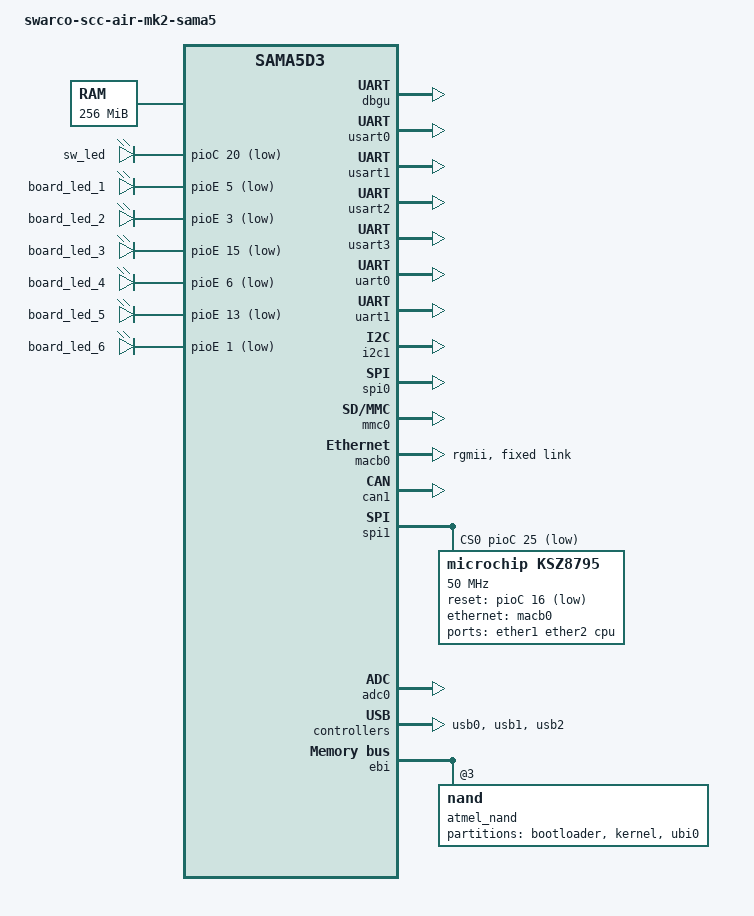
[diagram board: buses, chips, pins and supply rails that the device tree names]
/*
 * sama5d35-swarco-air-mk2.dts - Device Tree for Swarco SCC-Air Mk.II
 *
 *  Copyright (C) 2013 Atmel,
 *                2013 Ludovic Desroches <ludovic.desroches@atmel.com>
 *                2016 Karl Olsen <karl@micro-technic.com>
 *                2019 Jakob Førster <jf@swtech.dk>
 *                2021 Guido Classen 
 *
 * Licensed under GPLv2 or later.
 */

/dts-v1/;
#include "sama5d35.dtsi"

/ {
	model = "swarco-scc-air-mk2-sama5";
	compatible = "atmel,sama5d35-swarco-scc-air-mk2", "atmel,sama5d35", "atmel,sama5d3", "atmel,sama5";

	chosen {
		stdout-path = "serial0:115200n8";
		/* bootargs = "rootfstype=ubifs ubi.mtd=2 root=ubi0:rootfs"; */
	};

	memory {
		reg = <0x20000000 0x10000000>;
	};

	clocks {
		slow_xtal {
			clock-frequency = <32768>;
		};

		main_xtal {
			clock-frequency = <12000000>;
		};
	};

	gpioleds {
		compatible = "gpio-leds";

		/* D15 green SMD LED */
		led_sw {
			label = "sw_led";
			gpios = <&pioC 20 GPIO_ACTIVE_LOW>;
			default-state = "on";
			linux,default-trigger = "cpu0";
		};

		/* LED board */
		/* ST_LED_1 */
		board_led_1 {
			label = "board_led_1";
			gpios = <&pioE 5 GPIO_ACTIVE_LOW>;
			default-state = "off";
		};

		/* ST_LED_2 */
		board_led_2 {
			label = "board_led_2";
			gpios = <&pioE 3 GPIO_ACTIVE_LOW>;
			default-state = "off";
		};

		/* ST_LED_3 */
		board_led_3 {
			label = "board_led_3";
			gpios = <&pioE 15 GPIO_ACTIVE_LOW>;
			default-state = "off";
		};

		/* ST_LED_4 */
		board_led_4 {
			label = "board_led_4";
			gpios = <&pioE 6 GPIO_ACTIVE_LOW>;
			default-state = "off";
		};

		/* ST_LED_5 */
		board_led_5 {
			label = "board_led_5";
			gpios = <&pioE 13 GPIO_ACTIVE_LOW>;
			default-state = "off";
		};

		/* ST_LED_6 */
		board_led_6 {
			label = "board_led_6";
			gpios = <&pioE 1 GPIO_ACTIVE_LOW>;
			default-state = "off";
		};
	};

	ahb {
		apb {
			/* DBGU (/dev/ttyS0): Console port. RxD, TxD.
			 * Accessible through USB Device port with FTDI USB-serial converter. */
			dbgu: serial@ffffee00 {
				atmel,use-dma-rx;
				atmel,use-dma-tx;
				status = "okay";
			};

			/* USART0 (/dev/ttyS1): RS485#1. RxD, TxD, RTS. */
			usart0: serial@f001c000 {
				pinctrl-0 = <&pinctrl_usart0 &pinctrl_usart0_rts>;
				linux,rs485-enabled-at-boot-time;
				rs485-rts-delay = <1 1>;
				atmel,use-dma-rx;
				atmel,use-dma-tx;
				status = "okay";
			};

			/* USART1 (/dev/ttyS2): RS485#3. RxD, TxD, RTS. */
			usart1: serial@f0020000 {
				pinctrl-0 = <&pinctrl_usart1 &pinctrl_usart1_rts>;
				linux,rs485-enabled-at-boot-time;
				rs485-rts-delay = <1 1>;
				atmel,use-dma-rx;
				atmel,use-dma-tx;
				status = "okay";
			};

			/* USART2 (/dev/ttyS3): RS232#1 with full modem.
			 * CN9 DSUB-9 male on front. */
			usart2: serial@f8020000 {
				pinctrl-0 = <&pinctrl_usart2 &pinctrl_usart2_rts_cts>;
				dtr-gpios = <&pioE 27 GPIO_ACTIVE_LOW>;
				rng-gpios = <&pioE 28 GPIO_ACTIVE_LOW>;
				dsr-gpios = <&pioE 29 GPIO_ACTIVE_LOW>;
				dcd-gpios = <&pioE 30 GPIO_ACTIVE_LOW>;
				atmel,use-dma-rx;
				atmel,use-dma-tx;
				status = "okay";
			};

			/* USART3 (dev/ttyS4): RS485#2. RxD, TxD, RTS. */
			usart3: serial@f8024000 {
				pinctrl-0 = <&pinctrl_usart3 &pinctrl_usart3_rts>;
				linux,rs485-enabled-at-boot-time;
				rs485-rts-delay = <1 1>;
				atmel,use-dma-rx;
				atmel,use-dma-tx;
				status = "okay";
			};

			/* UART0 (dev/ttyS5):  RS232#2. RxD, TxD. */
			uart0: serial@f0024000 {
				status = "okay";
			};

			/* UART1 (dev/ttyS6):  UART Expansion board. RxD, TxD. */
			uart1: serial@f8028000 {
				status = "okay";
			};

            /* Twin wire communication - Expansion board*/
            i2c1: i2c@f0018000 {
				status = "okay";
			};

			/* SPI - Expansion board*/
			spi0: spi@f0004000 {
				/* The default pinctrl_spi0 covers SPCK, MISO, MOSI.
				 * Chip select is GPIO which does not need pinctrl. */
				cs-gpios = <&pioD 13 0>;
				status = "okay";
			};

			/* MicroSD connector */
			mmc0: mmc@f0000000 {
				pinctrl-0 = <&pinctrl_mmc0_clk_cmd_dat0 &pinctrl_mmc0_dat1_3 &pinctrl_mmc0_cd>;
				/* If you want to prevent DMA usage:
				 * dma-names = "rxtxdlesnotexist"; */
				status = "okay";

				slot@0 {
					reg = <0>;
					bus-width = <4>;
					cd-gpios = <&pioB 17 GPIO_ACTIVE_LOW>;
				};
			};

			/* 10/100 macb not in use */
			macb1: ethernet@f802c000 {
				status = "disable";
			};

			/* Gigabit gmac directly connected to a KSZ8795 or
			 * KSZ8765 5-port switch. We use a platform "fixed"
			 * MDIO bus (CONFIG_FIXED_PHY) at 1000M always up
			 * instead of a physical MDIO bus.
			 * The KSZ87x5 is managed through SPI interface. */
			macb0: ethernet@f0028000 {
				pinctrl-0 = <&pinctrl_macb0_data_rgmii &pinctrl_macb0_signal_rgmii_nomdio>;
				phy-mode = "rgmii";
				#address-cells = <1>;
				#size-cells = <0>;
				status = "okay";

				/* @@kro: Support for "fixed-link" has been patched into
				 * drivers/net/ethernet/cadence/macb.c.
				 * Without this macb.c only checks its own mii bus. */
				fixed-link {
					speed = <1000>;
					full-duplex;
				};
			};

			/* CAN I/O */
			can1: can@f8010000 {
				status = "okay";
			};

			/* SPI 1 - micrel switch */
			spi1: spi@f8008000 {
				/* The default pinctrl_spi1 covers SPCK, MISO, MOSI.
				 * Chip select is GPIO which does not need pinctrl. */
				cs-gpios = <&pioC 25 GPIO_ACTIVE_LOW>;
				status = "okay";

				/*
                                 * ksz87x5_spi@0 {
				 * 	/\* Micrel KSZ8795 5-port switch *\/
				 * 	compatible = "micrel,ksz8795";
				 * 	reg = <0>;
				 * 	reset-gpios = <&pioC 16 GPIO_ACTIVE_LOW>;
				 * 	spi-max-frequency = <50000000>;
				 * 	#address-cells = <1>;
				 * 	#size-cells = <0>;
                                 * 
				 * 	ports {
				 * 		#address-cells = <1>;
				 * 		#size-cells = <0>;
                                 * 
				 * 		port0@0 {
				 * 			reg = <0>;
				 * 			label = "eth1";
				 * 		};
                                 * 
				 * 		port1@1 {
				 * 			reg = <1>;
				 * 			label = "eth2";
				 * 		};
                                 * 
				 * 		port4@4 {
				 * 			reg = <4>;
				 * 			label = "cpu";
				 * 			ethernet = <&macb0>;
				 * 		};
				 * 	};
				 * };
                                 */
		                ksz8795: ksz8795@0 {
                                        /* Micrel KSZ8795 5-port switch */
			                compatible = "microchip,ksz8795";
			                reg = <0>;
                                        /* 2021-06-02 gc: this is different than SCC 5port router */
				  	reset-gpios = <&pioC 16 GPIO_ACTIVE_LOW>;
			                spi-max-frequency = <50000000>;
			                /*
                                         * spi-cpha;
			                 * spi-cpol;
                                         */
                                        status = "okay";

			                ports {
				                #address-cells = <1>;
				                #size-cells = <0>;
				                port@0 {
					                reg = <0>;
					                label = "ether1";
				                };
				                port@1 {
					                reg = <1>;
					                label = "ether2";
				                };
				                port@4 {
					                reg = <4>;
					                label = "cpu";
					                ethernet = <&macb0>;
				                        phy-mode = "rgmii-id";
					                fixed-link {
						                speed = <1000>;
						                full-duplex;
					                };
				                };
			                };
		                };
                                
			};

			/* ADC enable */
			adc0: adc@f8018000 {
				atmel,adc-channels-used = <0xC7>;
				pinctrl-0 = <
					&pinctrl_adc0_adtrg
					&pinctrl_adc0_ad0
					&pinctrl_adc0_ad1
					&pinctrl_adc0_ad2
					&pinctrl_adc0_ad6
					&pinctrl_adc0_ad7>;
				atmel,adc-use-res = "highres";
				atmel,adc-vref = <3300>;
				status = "okay";
			};

			/* Watchdog */
			watchdog@fffffe40 {
				/delete-property/ atmel,dbg-halt;
				status = "okay";
			};

			/* RTC */
			/* Nothing necessary, is automatically enabled */

			/* Main clock crystal frequency */
			pmc: pmc@fffffc00 {
				main: mainck {
					clock-frequency = <12000000>;
				};
			};

			pinctrl@fffff200 {
				board {
					/* Card Detect GPIO input for MicroSD */
					pinctrl_mmc0_cd: mmc0_cd-0 {
						atmel,pins =
							<AT91_PIOB 17 AT91_PERIPH_GPIO AT91_PINCTRL_PULL_UP_DEGLITCH>;
					};

					/* VBUS detect GPIO input pin for USB Device */
					pinctrl_usba_vbus: usba_vbus-0 {
						atmel,pins =
							<AT91_PIOD 28 AT91_PERIPH_GPIO AT91_PINCTRL_DEGLITCH>;
					};

					/* RTS pin for USART0 (RS485#1) */
					pinctrl_usart0_rts: usart0_rts-0 {
						atmel,pins =
							<AT91_PIOD 16 AT91_PERIPH_A AT91_PINCTRL_NONE>;
					};

					/* RTS pin for USART1 (RS485#3) */
					pinctrl_usart1_rts: usart1_rts-0 {
						atmel,pins =
							<AT91_PIOB 27 AT91_PERIPH_A AT91_PINCTRL_NONE>;
					};

					/* RTS pin for USART3 (RS485#2) */
					pinctrl_usart3_rts: usart3_rts-0 {
						atmel,pins =
							<AT91_PIOE 17 AT91_PERIPH_B AT91_PINCTRL_NONE>;
					};

					/* Control signals for macb0 rgmii. Same as pinctrl_macb0_signal_rgmii
					 * but with PB16 (GMDC) and PB17 (GMDIO) removed. */
					pinctrl_macb0_signal_rgmii_nomdio: macb0_signal_rgmii_nomdio {
						atmel,pins =
							<AT91_PIOB 8 AT91_PERIPH_A AT91_PINCTRL_NONE    /* PB8 periph A GTXCK, conflicts with PWMH2 */
							 AT91_PIOB 9 AT91_PERIPH_A AT91_PINCTRL_NONE    /* PB9 periph A GTXEN, conflicts with PWML2 */
							 AT91_PIOB 11 AT91_PERIPH_A AT91_PINCTRL_NONE   /* PC16 periph A GRXCK */
							 AT91_PIOB 13 AT91_PERIPH_A AT91_PINCTRL_NONE   /* PB13 periph A GRXER, conflicts with PWML3 */
							 AT91_PIOB 18 AT91_PERIPH_A AT91_PINCTRL_NONE>; /* PB18 periph A G125CK */
					};
                                        /* 2021-06-01 gc: pioC 16 GPIO_ACTIVE_LOW (this is different than 5port router)  */
                                        pinctrl_spi_ksz: spi_ksz {
						atmel,pins =
							<AT91_PIOC 16 AT91_PERIPH_GPIO AT91_PINCTRL_NONE> ; /* GMAC_RESET */
					};


					/* GPIOs for digital inputs. */
					pinctrl_dig_in: dig_in-0 {
						atmel,pins =
							<AT91_PIOD 20 AT91_PERIPH_GPIO AT91_PINCTRL_DEGLITCH    /* PB19 = DIG_IN_0 */
							 AT91_PIOD 21 AT91_PERIPH_GPIO AT91_PINCTRL_DEGLITCH    /* PB20 = DIG_IN_1 */
							 AT91_PIOD 22 AT91_PERIPH_GPIO AT91_PINCTRL_DEGLITCH    /* PB21 = DIG_IN_2 */
							 AT91_PIOD 23 AT91_PERIPH_GPIO AT91_PINCTRL_DEGLITCH    /* PB22 = DIG_IN_3 */
							 AT91_PIOD 24 AT91_PERIPH_GPIO AT91_PINCTRL_DEGLITCH>;  /* PB23 = DIG_IN_4 */
					};

					/* GPIOs for digital inputs and output to the expansion board. */
					pinctrl_exp_board_io: pinctrl_exp_board_io-0 {
						atmel,pins =
							<AT91_PIOC 10 AT91_PERIPH_GPIO AT91_PINCTRL_DEGLITCH    /* PC10 =  IN_1 */
                                                  /* 2021-06-02 gc: this was wrong, should be PC18!!! */
							 AT91_PIOC 18 AT91_PERIPH_GPIO AT91_PINCTRL_DEGLITCH>;  /* PC16 = OUT_1 */
					};
				};
			};
		};  /* apb END */

		/* USB Device */
		usb0: gadget@500000 {
			atmel,vbus-gpio = <&pioD 28 GPIO_ACTIVE_HIGH>;
			pinctrl-names = "default";
			pinctrl-0 = <&pinctrl_usba_vbus>;
			status = "okay";
                        /* 2021-07-29 gc: we must use smaller fifo-sizes than
                        *                 the default values, because the
                        *                 USB-Hub chip TUSB2046 used in the
                        *                 SCC-Air Mk II USB device port only 
                        *                 supports full-speed and will crash
                        *                 when we use the default fifo-size 
                        *                 of 1024.
                        */
                        ep@0 {
		                reg = <0>;
		                atmel,fifo-size = <64>;
		                atmel,nb-banks = <1>;
	                };
	                ep@1 {
		                reg = <1>;
		                atmel,fifo-size = <64>;
		                atmel,nb-banks = <2>;
		                atmel,can-dma;
		                atmel,can-isoc;
	                };
	                ep@2 {
		                reg = <2>;
		                atmel,fifo-size = <64>;
		                atmel,nb-banks = <2>;
		                atmel,can-dma;
		                atmel,can-isoc;
	                };
	                ep@3 {
		                reg = <3>;
		                atmel,fifo-size = <16>;
		                atmel,nb-banks = <2>;
		                atmel,can-dma;
	                };
	                ep@4 {
		                reg = <4>;
		                atmel,fifo-size = <16>;
		                atmel,nb-banks = <2>;
		                atmel,can-dma;
	                };
	                ep@5 {
		                reg = <5>;
		                atmel,fifo-size = <64>;
		                atmel,nb-banks = <2>;
		                atmel,can-dma;
		                atmel,can-isoc;
	                };
	                ep@6 {
		                reg = <6>;
		                atmel,fifo-size = <64>;
		                atmel,nb-banks = <2>;
		                atmel,can-dma;
		                atmel,can-isoc;
	                };
		};

		/* USB Host fullspeed */
		usb1: ohci@600000 {
			num-ports = <3>;
			atmel,vbus-gpio =
				<0				/* USB_A is device only */
				 0				/* USB_B: Modem module, VBUS controlled manually by PD24 */
				 &pioD 29 GPIO_ACTIVE_LOW>;	/* USB_C: Host connector powered through LM3526-L */
			status = "okay";
		};

		/* USB Host highspeed */
		usb2: ehci@700000 {
			status = "okay";
		};

		/* 128/256/512 MB NAND flash.
		 * ECC settings must match with the bootloader. */
		/*
                 * nand0: nand@60000000 {
		 * 	nand-bus-width = <8>;
		 * 	nand-ecc-mode = "hw";
		 * 	atmel,has-pmecc;
		 * 	atmel,pmecc-cap = <8>;
		 * 	atmel,pmecc-sector-size = <512>;
		 * 	nand-on-flash-bbt;
		 * 	status = "okay";
                 * 
		 * 	/\* mtd0: 128 KB (1 block) for bootloader. *\/
		 * 	bootloader@0 {
		 * 		label = "bootloader";
		 * 		reg = <0x00000000 0x00020000>;	/\* 128 KB *\/
		 * 	};
                 * 
		 * 	/\* mtd1: Almost 8 MB (63 blocks) for kernel+initramfs. *\/
		 * 	kernel@20000 {
		 * 		label = "kernel";
		 * 		reg = <0x00020000 0x007E0000>;	/\* 8064 KB *\/
		 * 	};
                 * 
		 * 	/\* mtd2: The rest (120/248/504 MB) for UBI. This
		 * 	 * normally contains one volume called "rootfs".
		 * 	 *
		 * 	 * The magic value MTDPART_SIZ_FULL (0) isn't mentioned
		 * 	 * in the devicetree binding docs, but it works. With
		 * 	 * this you don't need separate .dtb files for
		 * 	 * different NAND flash sizes. *\/
		 * 	ubi0@800000 {
		 * 		label = "ubi0";
		 * 		reg = <0x00800000 0x00000000>;	/\* MTDPART_SIZ_FULL *\/
		 * 	};
		 * };
                 */
                ebi: ebi@10000000 { /* NAND has NCS3, which is not a GPIO */
			pinctrl-0 = <&pinctrl_ebi_nand_addr>;
			pinctr-name = "default";
			status = "okay";

			nand_controller: nand-controller {
				status = "okay";

				nand@3 {
					reg = <0x3 0x0 0x2>;
					atmel,rb = <0>;
					nand-bus-width = <8>;
					nand-ecc-mode = "hw";
					nand-ecc-strength = <8>;
					nand-ecc-step-size = <512>;
					nand-on-flash-bbt;
					label = "atmel_nand";

					partitions {
						compatible = "fixed-partitions";
						#address-cells = <1>;
						#size-cells = <1>;

			                        /* mtd0: 128 KB (1 block) for bootloader. */
			                        bootloader@0 {
				                        label = "bootloader";
				                        reg = <0x00000000 0x00020000>;	/* 128 KB */
			                        };
                                                
			                        /* mtd1: Almost 8 MB (63 blocks) for kernel+initramfs. */
			                        kernel@20000 {
				                        label = "kernel";
				                        reg = <0x00020000 0x007E0000>;	/* 8064 KB */
			                        };
                                                
			                        /* mtd2: The rest (120/248/504 MB) for UBI. This
			                        * normally contains one volume called "rootfs".
			                        *
			                        * The magic value MTDPART_SIZ_FULL (0) isn't mentioned
			                        * in the devicetree binding docs, but it works. With
			                        * this you don't need separate .dtb files for
			                        * different NAND flash sizes. */
			                        ubi0@800000 {
				                        label = "ubi0";
				                        reg = <0x00800000 0x00000000>;	/* MTDPART_SIZ_FULL */
			                        };
					};
				};
			};
		};                
	}; /* ahb END */
};
